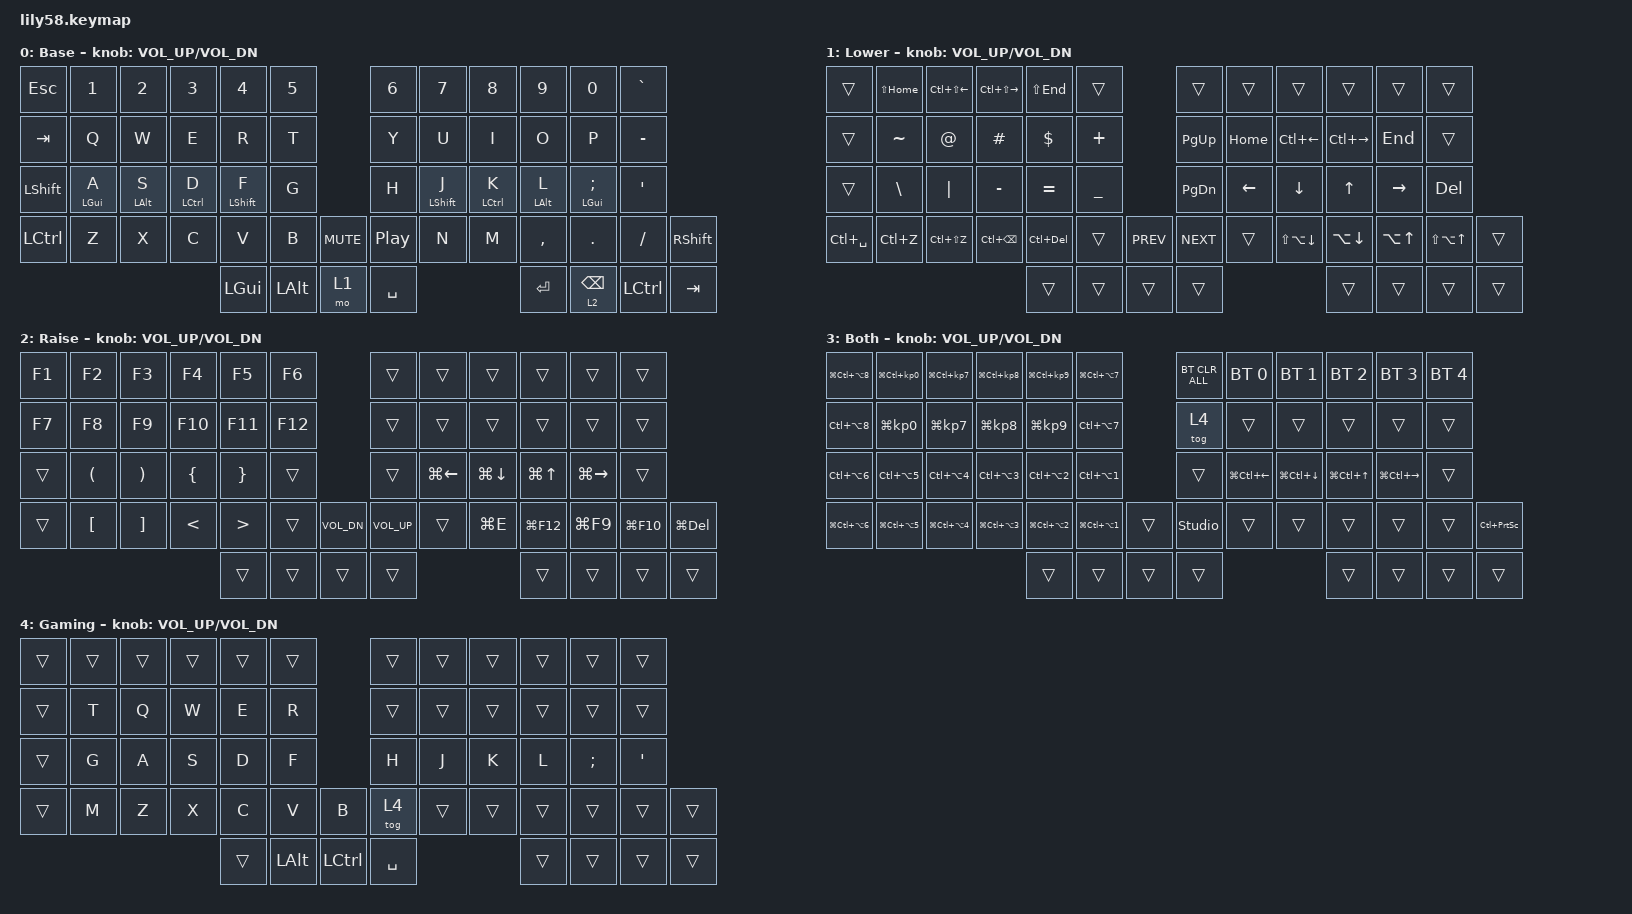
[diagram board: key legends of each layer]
/*
 * Allium58 keymap: Base / Lower / Raise / Both (auto, Lower+Raise) / Gaming (toggle)
 *
 * Hyprland outputs:
 *   focus window       LG(arrow)
 *   move window        LG(LC(arrow))
 *   go to workspace    LC(LA(Nn))
 *   send to workspace  LG(LC(LA(Nn)))
 *   special toggle     LG(KP_Nn)      send: LG(LC(KP_Nn))
 *   screenshot region  LC(PSCRN)
 *   close window       LG(DEL)
 *   launcher (wofi)    LC(SPACE)
 */

#include <behaviors.dtsi>
#include <dt-bindings/zmk/bt.h>
#include <dt-bindings/zmk/keys.h>
#include <dt-bindings/zmk/pointing.h>

#define default_layer 0
#define lower_layer 1
#define raise_layer 2
#define adjust_layer 3
#define gaming_layer 4

&mt {
    flavor = "tap-preferred";
    tapping-term-ms = <160>;
    quick-tap-ms = <175>;
    require-prior-idle-ms = <0>;
};

&lt {
    flavor = "balanced";
    tapping-term-ms = <180>;
    quick-tap-ms = <150>;
};

/ {
    behaviors {
        // Home-row mods, left hand: hold triggers only when the NEXT key is on the right hand
        hml: homerow_mods_left {
            compatible = "zmk,behavior-hold-tap";
            display-name = "Home Mod Left";
            #binding-cells = <2>;
            flavor = "balanced";
            tapping-term-ms = <200>;
            quick-tap-ms = <175>;
            require-prior-idle-ms = <80>;
            bindings = <&kp>, <&kp>;
            hold-trigger-key-positions = <6 7 8 9 10 11 18 19 20 21 22 23 30 31 32 33 34 35 43 44 45 46 47 48 49 54 55 56 57>;
            hold-trigger-on-release;
        };

        // Home-row mods, right hand: hold triggers only when the NEXT key is on the left hand
        hmr: homerow_mods_right {
            compatible = "zmk,behavior-hold-tap";
            display-name = "Home Mod Right";
            #binding-cells = <2>;
            flavor = "balanced";
            tapping-term-ms = <200>;
            quick-tap-ms = <175>;
            require-prior-idle-ms = <80>;
            bindings = <&kp>, <&kp>;
            hold-trigger-key-positions = <0 1 2 3 4 5 12 13 14 15 16 17 24 25 26 27 28 29 36 37 38 39 40 41 42 50 51 52 53>;
            hold-trigger-on-release;
        };
    };

    // Lower + Raise held together = Adjust layer
    conditional_layers {
        compatible = "zmk,conditional-layers";
        tri_layer {
            if-layers = <1 2>;
            then-layer = <3>;
        };
    };

    keymap {
        compatible = "zmk,keymap";

        default_layer {
            display-name = "Base";
            bindings = <
&kp ESC     &kp N1        &kp N2        &kp N3        &kp N4         &kp N5       &kp N6       &kp N7         &kp N8         &kp N9         &kp N0          &kp GRAVE
&kp TAB     &kp Q         &kp W         &kp E         &kp R          &kp T        &kp Y        &kp U          &kp I          &kp O          &kp P           &kp MINUS
&kp LSHIFT  &hml LGUI A   &hml LALT S   &hml LCTRL D  &hml LSHIFT F  &kp G        &kp H        &hmr LSHIFT J  &hmr LCTRL K   &hmr LALT L    &hmr LGUI SEMI  &kp SQT
&kp LCTRL   &kp Z         &kp X         &kp C         &kp V          &kp B  &kp C_MUTE  &kp C_PP  &kp N      &kp M          &kp COMMA      &kp DOT        &kp FSLH        &kp RSHIFT
                                 &kp LGUI  &kp LALT  &mo 1  &kp SPACE      &kp RET  &lt 2 BSPC  &kp LCTRL  &kp TAB
            >;

            sensor-bindings = <&inc_dec_kp C_VOL_UP C_VOL_DN>;
        };

        lower_layer {
            display-name = "Lower";
            bindings = <
&trans  &kp LS(HOME)  &kp LC(LS(LEFT))  &kp LC(LS(RIGHT))  &kp LS(END)  &trans      &trans     &trans     &trans         &trans         &trans         &trans
&trans  &kp TILDE     &kp AT            &kp HASH           &kp DOLLAR   &kp PLUS    &kp PG_UP  &kp HOME   &kp LC(LEFT)   &kp LC(RIGHT)  &kp END        &trans
&trans  &kp BSLH      &kp PIPE          &kp MINUS          &kp EQUAL    &kp UNDER   &kp PG_DN  &kp LEFT   &kp DOWN       &kp UP         &kp RIGHT      &kp DEL
&kp LC(SPACE)  &kp LC(Z)     &kp LC(LS(Z))     &kp LC(BSPC)       &kp LC(DEL)  &trans  &kp C_PREV  &kp C_NEXT  &trans  &kp LS(LA(DOWN))  &kp LA(DOWN)  &kp LA(UP)  &kp LS(LA(UP))  &trans
                                        &trans  &trans  &trans  &trans      &trans  &trans  &trans  &trans
            >;

            sensor-bindings = <&inc_dec_kp C_VOL_UP C_VOL_DN>;
        };

        raise_layer {
            display-name = "Raise";
            bindings = <
&kp F1  &kp F2   &kp F3   &kp F4   &kp F5   &kp F6      &trans  &trans         &trans         &trans       &trans          &trans
&kp F7  &kp F8   &kp F9   &kp F10  &kp F11  &kp F12     &trans  &trans         &trans         &trans       &trans          &trans
&trans  &kp LPAR &kp RPAR &kp LBRC &kp RBRC &trans      &trans  &kp LG(LEFT)   &kp LG(DOWN)   &kp LG(UP)   &kp LG(RIGHT)   &trans
&trans  &kp LBKT &kp RBKT &kp LT   &kp GT   &trans  &kp C_VOL_DN  &kp C_VOL_UP  &trans  &kp LG(E)  &kp LG(F12)  &kp LG(F9)  &kp LG(F10)  &kp LG(DEL)
                                   &trans  &trans  &trans  &trans      &trans  &trans  &trans  &trans
            >;

            sensor-bindings = <&inc_dec_kp C_VOL_UP C_VOL_DN>;
        };

        adjust_layer {
            display-name = "Both";
            bindings = <
&kp LG(LC(LA(N8)))  &kp LG(LC(KP_N0))  &kp LG(LC(KP_N7))  &kp LG(LC(KP_N8))  &kp LG(LC(KP_N9))  &kp LG(LC(LA(N7)))      &bt BT_CLR_ALL  &bt BT_SEL 0  &bt BT_SEL 1  &bt BT_SEL 2  &bt BT_SEL 3  &bt BT_SEL 4
&kp LC(LA(N8))      &kp LG(KP_N0)      &kp LG(KP_N7)      &kp LG(KP_N8)      &kp LG(KP_N9)      &kp LC(LA(N7))          &tog 4          &trans         &trans         &trans        &trans        &trans
&kp LC(LA(N6))  &kp LC(LA(N5))  &kp LC(LA(N4))  &kp LC(LA(N3))  &kp LC(LA(N2))  &kp LC(LA(N1))      &trans  &kp LG(LC(LEFT))  &kp LG(LC(DOWN))  &kp LG(LC(UP))  &kp LG(LC(RIGHT))  &trans
&kp LG(LC(LA(N6)))  &kp LG(LC(LA(N5)))  &kp LG(LC(LA(N4)))  &kp LG(LC(LA(N3)))  &kp LG(LC(LA(N2)))  &kp LG(LC(LA(N1)))  &trans    &studio_unlock  &trans  &trans  &trans  &trans  &trans  &kp LC(PSCRN)
                                   &trans  &trans  &trans  &trans      &trans  &trans  &trans  &trans
            >;

            sensor-bindings = <&inc_dec_kp C_VOL_UP C_VOL_DN>;
        };

        gaming_layer {
            display-name = "Gaming";
            bindings = <
&trans  &trans  &trans  &trans  &trans  &trans      &trans  &trans  &trans  &trans  &trans  &trans
&trans  &kp T   &kp Q   &kp W   &kp E   &kp R       &trans  &trans  &trans  &trans  &trans  &trans
&trans  &kp G   &kp A   &kp S   &kp D   &kp F       &kp H   &kp J   &kp K   &kp L   &kp SEMI  &kp SQT
&trans  &kp M   &kp Z   &kp X   &kp C   &kp V   &kp B  &tog 4  &trans  &trans  &trans  &trans  &trans  &trans
                                   &trans  &kp LALT  &kp LCTRL  &kp SPACE      &trans  &trans  &trans  &trans
            >;

            sensor-bindings = <&inc_dec_kp C_VOL_UP C_VOL_DN>;
        };
    };
};
